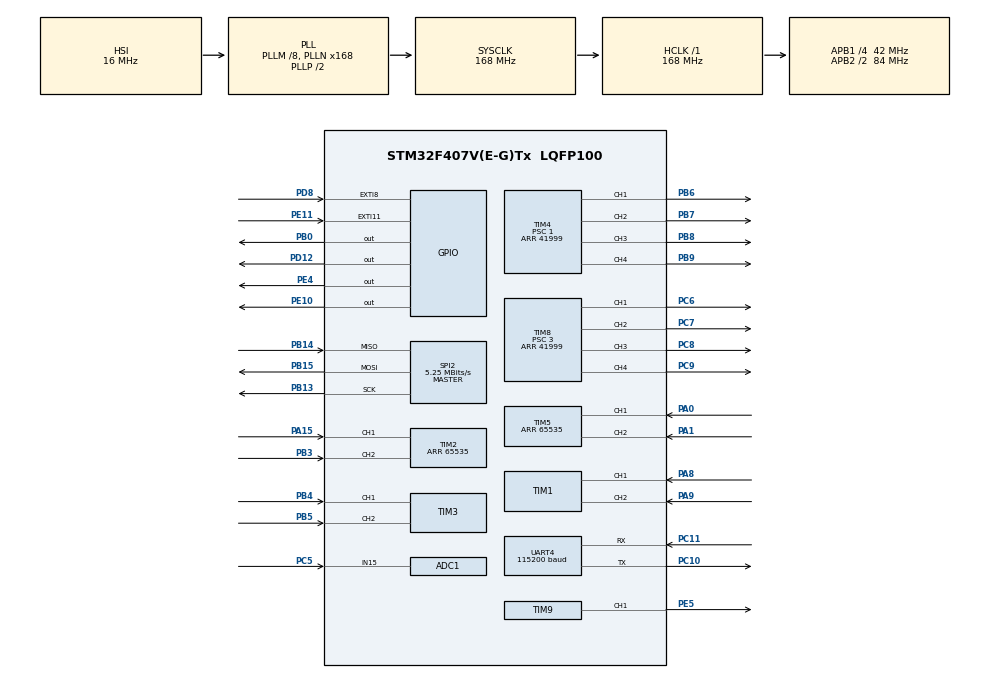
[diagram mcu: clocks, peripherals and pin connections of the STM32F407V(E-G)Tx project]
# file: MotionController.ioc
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ADC1.Channel-1\#ChannelRegularConversion=ADC_CHANNEL_15
ADC1.NbrOfConversionFlag=1
ADC1.Rank-1\#ChannelRegularConversion=1
ADC1.SamplingTime-1\#ChannelRegularConversion=ADC_SAMPLETIME_3CYCLES
ADC1.master=1
Dma.Request0=SPI2_TX
Dma.Request1=SPI2_RX
Dma.Request2=UART4_RX
Dma.SPI2_RX.1.Direction=DMA_PERIPH_TO_MEMORY
Dma.SPI2_RX.1.FIFOMode=DMA_FIFOMODE_DISABLE
Dma.SPI2_RX.1.Instance=DMA1_Stream3
Dma.SPI2_RX.1.MemDataAlignment=DMA_MDATAALIGN_BYTE
Dma.SPI2_RX.1.MemInc=DMA_MINC_ENABLE
Dma.SPI2_RX.1.Mode=DMA_NORMAL
Dma.SPI2_RX.1.PeriphDataAlignment=DMA_PDATAALIGN_BYTE
Dma.SPI2_RX.1.PeriphInc=DMA_PINC_DISABLE
Dma.SPI2_RX.1.Priority=DMA_PRIORITY_VERY_HIGH
Dma.SPI2_TX.0.Direction=DMA_MEMORY_TO_PERIPH
Dma.SPI2_TX.0.FIFOMode=DMA_FIFOMODE_DISABLE
Dma.SPI2_TX.0.Instance=DMA1_Stream4
Dma.SPI2_TX.0.MemDataAlignment=DMA_MDATAALIGN_BYTE
Dma.SPI2_TX.0.MemInc=DMA_MINC_ENABLE
Dma.SPI2_TX.0.Mode=DMA_NORMAL
Dma.SPI2_TX.0.PeriphDataAlignment=DMA_PDATAALIGN_BYTE
Dma.SPI2_TX.0.PeriphInc=DMA_PINC_DISABLE
Dma.SPI2_TX.0.Priority=DMA_PRIORITY_VERY_HIGH
Dma.UART4_RX.2.Direction=DMA_PERIPH_TO_MEMORY
Dma.UART4_RX.2.FIFOMode=DMA_FIFOMODE_DISABLE
Dma.UART4_RX.2.Instance=DMA1_Stream2
Dma.UART4_RX.2.MemDataAlignment=DMA_MDATAALIGN_BYTE
Dma.UART4_RX.2.MemInc=DMA_MINC_ENABLE
Dma.UART4_RX.2.Mode=DMA_NORMAL
Dma.UART4_RX.2.PeriphDataAlignment=DMA_PDATAALIGN_BYTE
Dma.UART4_RX.2.PeriphInc=DMA_PINC_DISABLE
Dma.UART4_RX.2.Priority=DMA_PRIORITY_HIGH
Mcu.Family=STM32F4
Mcu.Name=STM32F407V(E-G)Tx
Mcu.Package=LQFP100
NVIC.DMA1_Stream2_IRQn=true\:4\:0\:true\:false\:true\:false\:true\:true
NVIC.DMA1_Stream3_IRQn=true\:2\:0\:true\:false\:true\:false\:true\:true
NVIC.DMA1_Stream4_IRQn=true\:2\:0\:true\:false\:true\:false\:true\:true
NVIC.EXTI15_10_IRQn=true\:6\:0\:true\:false\:true\:true\:true\:true
NVIC.EXTI9_5_IRQn=true\:0\:0\:false\:false\:true\:true\:true\:true
NVIC.PriorityGroup=NVIC_PRIORITYGROUP_4
NVIC.SPI2_IRQn=true\:1\:0\:true\:false\:true\:true\:true\:true
NVIC.UART4_IRQn=true\:3\:0\:true\:false\:true\:true\:true\:true
PA0-WKUP.GPIO_PuPd=GPIO_PULLUP
PA0-WKUP.GPIO_Speed=GPIO_SPEED_FREQ_VERY_HIGH
PA0-WKUP.Signal=S_TIM5_CH1
PA1.GPIO_PuPd=GPIO_PULLUP
PA1.GPIO_Speed=GPIO_SPEED_FREQ_VERY_HIGH
PA1.Signal=S_TIM5_CH2
PA15.GPIO_PuPd=GPIO_PULLUP
PA15.GPIO_Speed=GPIO_SPEED_FREQ_VERY_HIGH
PA15.Signal=S_TIM2_CH1_ETR
PA8.GPIO_PuPd=GPIO_PULLUP
PA8.GPIO_Speed=GPIO_SPEED_FREQ_VERY_HIGH
PA8.Signal=S_TIM1_CH1
PA9.GPIO_PuPd=GPIO_PULLUP
PA9.GPIO_Speed=GPIO_SPEED_FREQ_VERY_HIGH
PA9.Signal=S_TIM1_CH2
PB0.GPIO_Speed=GPIO_SPEED_FREQ_LOW
PB0.PinState=GPIO_PIN_SET
PB0.Signal=GPIO_Output
PB13.Mode=Full_Duplex_Master
PB13.Signal=SPI2_SCK
PB14.Mode=Full_Duplex_Master
PB14.Signal=SPI2_MISO
PB15.Mode=Full_Duplex_Master
PB15.Signal=SPI2_MOSI
PB3.GPIO_PuPd=GPIO_PULLUP
PB3.GPIO_Speed=GPIO_SPEED_FREQ_VERY_HIGH
PB3.Signal=S_TIM2_CH2
PB4.GPIO_PuPd=GPIO_PULLUP
PB4.GPIO_Speed=GPIO_SPEED_FREQ_VERY_HIGH
PB4.Signal=S_TIM3_CH1
PB5.GPIO_PuPd=GPIO_PULLUP
PB5.GPIO_Speed=GPIO_SPEED_FREQ_VERY_HIGH
PB5.Signal=S_TIM3_CH2
PB6.GPIO_Speed=GPIO_SPEED_FREQ_VERY_HIGH
PB6.Signal=S_TIM4_CH1
PB7.GPIO_Speed=GPIO_SPEED_FREQ_VERY_HIGH
PB7.Signal=S_TIM4_CH2
PB8.GPIO_Speed=GPIO_SPEED_FREQ_VERY_HIGH
PB8.Signal=S_TIM4_CH3
PB9.GPIO_Speed=GPIO_SPEED_FREQ_VERY_HIGH
PB9.Signal=S_TIM4_CH4
PC10.Mode=Asynchronous
PC10.Signal=UART4_TX
PC11.Mode=Asynchronous
PC11.Signal=UART4_RX
PC5.Signal=ADCx_IN15
PC6.GPIO_Speed=GPIO_SPEED_FREQ_VERY_HIGH
PC6.Signal=S_TIM8_CH1
PC7.GPIO_Speed=GPIO_SPEED_FREQ_VERY_HIGH
PC7.Signal=S_TIM8_CH2
PC8.GPIO_Speed=GPIO_SPEED_FREQ_VERY_HIGH
PC8.Signal=S_TIM8_CH3
PC9.GPIO_Speed=GPIO_SPEED_FREQ_VERY_HIGH
PC9.Signal=S_TIM8_CH4
PD12.GPIO_Speed=GPIO_SPEED_FREQ_VERY_HIGH
PD12.PinState=GPIO_PIN_SET
PD12.Signal=GPIO_Output
PD8.GPIO_PuPd=GPIO_PULLUP
PD8.Signal=GPXTI8
PE10.Signal=GPIO_Output
PE11.GPIO_ModeDefaultEXTI=GPIO_MODE_IT_RISING_FALLING
PE11.GPIO_PuPd=GPIO_PULLUP
PE11.Signal=GPXTI11
PE4.Signal=GPIO_Output
PE5.GPIO_Speed=GPIO_SPEED_FREQ_VERY_HIGH
PE5.Signal=S_TIM9_CH1
PH0-OSC_IN.Mode=HSE-External-Oscillator
PH0-OSC_IN.Signal=RCC_OSC_IN
PH1-OSC_OUT.Mode=HSE-External-Oscillator
PH1-OSC_OUT.Signal=RCC_OSC_OUT
ProjectManager.HeapSize=0x200
ProjectManager.StackSize=0x400
ProjectManager.TargetToolchain=STM32CubeIDE
RCC.48MHZClocksFreq_Value=84000000
RCC.AHBFreq_Value=168000000
RCC.APB1CLKDivider=RCC_HCLK_DIV4
RCC.APB1Freq_Value=42000000
RCC.APB1TimFreq_Value=84000000
RCC.APB2CLKDivider=RCC_HCLK_DIV2
RCC.APB2Freq_Value=84000000
RCC.APB2TimFreq_Value=168000000
RCC.CortexFreq_Value=168000000
RCC.HCLKFreq_Value=168000000
RCC.HSE_VALUE=8000000
RCC.HSI_VALUE=16000000
RCC.LSE_VALUE=32768
RCC.PLLM=8
RCC.PLLN=168
RCC.SYSCLKFreq_VALUE=168000000
RCC.SYSCLKSource=RCC_SYSCLKSOURCE_PLLCLK
RCC.VCOOutputFreq_Value=336000000
SH.ADCx_IN15.0=ADC1_IN15,IN15
SH.S_TIM1_CH1.0=TIM1_CH1,Encoder_Interface
SH.S_TIM1_CH2.0=TIM1_CH2,Encoder_Interface
SH.S_TIM2_CH1_ETR.0=TIM2_CH1,Encoder_Interface
SH.S_TIM2_CH2.0=TIM2_CH2,Encoder_Interface
SH.S_TIM3_CH1.0=TIM3_CH1,Encoder_Interface
SH.S_TIM3_CH2.0=TIM3_CH2,Encoder_Interface
SH.S_TIM4_CH1.0=TIM4_CH1,PWM Generation1 CH1
SH.S_TIM4_CH2.0=TIM4_CH2,PWM Generation2 CH2
SH.S_TIM4_CH3.0=TIM4_CH3,PWM Generation3 CH3
SH.S_TIM4_CH4.0=TIM4_CH4,PWM Generation4 CH4
SH.S_TIM5_CH1.0=TIM5_CH1,Encoder_Interface
SH.S_TIM5_CH2.0=TIM5_CH2,Encoder_Interface
SH.S_TIM8_CH1.0=TIM8_CH1,PWM Generation1 CH1
SH.S_TIM8_CH2.0=TIM8_CH2,PWM Generation2 CH2
SH.S_TIM8_CH3.0=TIM8_CH3,PWM Generation3 CH3
SH.S_TIM8_CH4.0=TIM8_CH4,PWM Generation4 CH4
SH.S_TIM9_CH1.0=TIM9_CH1,PWM Generation1 CH1
SPI2.BaudRatePrescaler=SPI_BAUDRATEPRESCALER_8
SPI2.CLKPhase=SPI_PHASE_2EDGE
SPI2.CLKPolarity=SPI_POLARITY_HIGH
SPI2.CalculateBaudRate=5.25 MBits/s
SPI2.Direction=SPI_DIRECTION_2LINES
SPI2.Mode=SPI_MODE_MASTER
SPI2.VirtualType=VM_MASTER
TIM1.AutoReloadPreload=TIM_AUTORELOAD_PRELOAD_ENABLE
TIM1.EncoderMode=TIM_ENCODERMODE_TI12
TIM2.AutoReloadPreload=TIM_AUTORELOAD_PRELOAD_ENABLE
TIM2.EncoderMode=TIM_ENCODERMODE_TI12
TIM2.Period=65535
TIM3.AutoReloadPreload=TIM_AUTORELOAD_PRELOAD_ENABLE
TIM3.EncoderMode=TIM_ENCODERMODE_TI12
TIM4.AutoReloadPreload=TIM_AUTORELOAD_PRELOAD_ENABLE
TIM4.Channel-PWM\ Generation1\ CH1=TIM_CHANNEL_1
TIM4.Channel-PWM\ Generation2\ CH2=TIM_CHANNEL_2
TIM4.Channel-PWM\ Generation3\ CH3=TIM_CHANNEL_3
TIM4.Channel-PWM\ Generation4\ CH4=TIM_CHANNEL_4
TIM4.Period=41999
TIM4.Prescaler=1
TIM5.AutoReloadPreload=TIM_AUTORELOAD_PRELOAD_ENABLE
TIM5.EncoderMode=TIM_ENCODERMODE_TI12
TIM5.Period=65535
TIM8.AutoReloadPreload=TIM_AUTORELOAD_PRELOAD_ENABLE
TIM8.Channel-PWM\ Generation1\ CH1=TIM_CHANNEL_1
TIM8.Channel-PWM\ Generation2\ CH2=TIM_CHANNEL_2
TIM8.Channel-PWM\ Generation3\ CH3=TIM_CHANNEL_3
TIM8.Channel-PWM\ Generation4\ CH4=TIM_CHANNEL_4
TIM8.Period=41999
TIM8.Prescaler=3
TIM9.AutoReloadPreload=TIM_AUTORELOAD_PRELOAD_ENABLE
TIM9.Channel-PWM\ Generation1\ CH1=TIM_CHANNEL_1
TIM9.Period=41999
TIM9.Prescaler=7
UART4.BaudRate=115200
UART4.VirtualMode=Asynchronous
VP_TIM4_VS_ClockSourceINT.Mode=Internal
VP_TIM8_VS_ClockSourceINT.Mode=Internal
VP_TIM9_VS_ClockSourceINT.Mode=Internal
board=custom

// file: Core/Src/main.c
/* USER CODE BEGIN Header */
/**
  ******************************************************************************
  * @file           : main.c
  * @brief          : Main program body
  ******************************************************************************
  * @attention
  *
  * Copyright (c) 2025 STMicroelectronics.
  * All rights reserved.
  *
  * This software is licensed under terms that can be found in the LICENSE file
  * in the root directory of this software component.
  * If no LICENSE file comes with this software, it is provided AS-IS.
  *
  ******************************************************************************
  */
/* USER CODE END Header */
#include "main.h"
#include "adc.h"
#include "dma.h"
#include "spi.h"
#include "tim.h"
#include "usart.h"
#include "gpio.h"

/* USER CODE BEGIN Includes */
#include <stddef.h>
#include "task.h"
#include "task_code.h"
#include "delay.h"
#include "delay_task_code.h"
#include "bmi088.h"
#include "wheel.h"
#include "dribble.h"
#include "protocol.h"
#include "kick.h"
#include "beep.h"
#include "battery.h"
#include "button.h"
/* USER CODE END Includes */

void SystemClock_Config(void);

int main(void)
{

  /* MCU Configuration--------------------------------------------------------*/

  /* Reset of all peripherals, Initializes the Flash interface and the Systick. */
  HAL_Init();

  /* Configure the system clock */
  SystemClock_Config();

  /* Initialize all configured peripherals */
  MX_GPIO_Init();
  MX_DMA_Init();
  MX_SPI2_Init();
  MX_TIM1_Init();
  MX_TIM2_Init();
  MX_TIM3_Init();
  MX_TIM4_Init();
  MX_TIM5_Init();
  MX_TIM8_Init();
  MX_TIM9_Init();
  MX_UART4_Init();
  MX_ADC1_Init();
  /* USER CODE BEGIN 2 */
  delay_init();
  protocol_start_receive_host();
  wheel_init();
  dribble_init();
  kick_reset();
  bmi088_init_gyro();
  beep(100);
  delay_task_enqueue(DELAY_TASK_WHEEL_UPDATE_PWM, 0, NULL);
  delay_task_enqueue(DELAY_TASK_DRIBBLE_UPDATE_PWM, 0, NULL);
  delay_task_enqueue(DELAY_TASK_BATTERY_MONIT_VOLTAGE, 0, NULL);
  delay_task_enqueue(DELAY_TASK_BMI088_CALIBRATE_OFFSET, 500, (void *)(uintptr_t)3000);
  /* USER CODE END 2 */

  /* Infinite loop */
  /* USER CODE BEGIN WHILE */
  while (1) {
	  if (task_available()) {
      void *arg;
		  switch (task_consume(&arg)) {
	  	  case TASK_PROCESS_GYRO_ANGLE:
		  	  bmi088_process_gyro_angle();
		  	  break;
	  	  case TASK_PROCESS_RECEIVED_FRAME:
	  		  protocol_process_received_frame();
		  	  break;
        case TASK_PROCESS_DELAY_TASK:
          while (delay_task_available()) {
            switch(delay_task_consume(&arg)) {
            case DELAY_TASK_BMI088_CALIBRATE_OFFSET:
              bmi088_calibrate_gyro_offset((int)(uintptr_t)arg);
              break;
            case DELAY_TASK_WHEEL_UPDATE_PWM:
              wheel_update_pwm();
              delay_task_enqueue(DELAY_TASK_WHEEL_UPDATE_PWM, 10, NULL);
              break;
            case DELAY_TASK_DRIBBLE_UPDATE_PWM:
              dribble_update_pwm();
              delay_task_enqueue(DELAY_TASK_DRIBBLE_UPDATE_PWM, 50, NULL);
              break;
            case DELAY_TASK_KICK_RESET:
              kick_reset();
              break;
            case DELAY_TASK_BEEP_RESET:
              beep_reset();
              break;
            case DELAY_TASK_BEEP_CONTINUE:
              beep_continue();
              break;
            case DELAY_TASK_BATTERY_MONIT_VOLTAGE:
              battery_monit_voltage();
	          delay_task_enqueue(DELAY_TASK_BATTERY_MONIT_VOLTAGE, 1000, NULL);
              break;
            case DELAY_TASK_BUTTON_DEBOUNCE_END:
              button_debounce_end((uint16_t)(uintptr_t)arg);
              break;
            default:
              break;
            }
          }
          break;
	  	  default:
		  	  break;
	  	  }
	  }
    /* USER CODE END WHILE */

  }
}

void SystemClock_Config(void)
{
  RCC_OscInitTypeDef RCC_OscInitStruct = {0};
  RCC_ClkInitTypeDef RCC_ClkInitStruct = {0};

  /** Configure the main internal regulator output voltage
  */
  __HAL_RCC_PWR_CLK_ENABLE();
  __HAL_PWR_VOLTAGESCALING_CONFIG(PWR_REGULATOR_VOLTAGE_SCALE1);

  /** Initializes the RCC Oscillators according to the specified parameters
  * in the RCC_OscInitTypeDef structure.
  */
  RCC_OscInitStruct.OscillatorType = RCC_OSCILLATORTYPE_HSI;
  RCC_OscInitStruct.HSIState = RCC_HSI_ON;
  RCC_OscInitStruct.HSICalibrationValue = RCC_HSICALIBRATION_DEFAULT;
  RCC_OscInitStruct.PLL.PLLState = RCC_PLL_ON;
  RCC_OscInitStruct.PLL.PLLSource = RCC_PLLSOURCE_HSI;
  RCC_OscInitStruct.PLL.PLLM = 8;
  RCC_OscInitStruct.PLL.PLLN = 168;
  RCC_OscInitStruct.PLL.PLLP = RCC_PLLP_DIV2;
  RCC_OscInitStruct.PLL.PLLQ = 4;
  if (HAL_RCC_OscConfig(&RCC_OscInitStruct) != HAL_OK)
  {
    Error_Handler();
  }

  /** Initializes the CPU, AHB and APB buses clocks
  */
  RCC_ClkInitStruct.ClockType = RCC_CLOCKTYPE_HCLK|RCC_CLOCKTYPE_SYSCLK
                              |RCC_CLOCKTYPE_PCLK1|RCC_CLOCKTYPE_PCLK2;
  RCC_ClkInitStruct.SYSCLKSource = RCC_SYSCLKSOURCE_PLLCLK;
  RCC_ClkInitStruct.AHBCLKDivider = RCC_SYSCLK_DIV1;
  RCC_ClkInitStruct.APB1CLKDivider = RCC_HCLK_DIV4;
  RCC_ClkInitStruct.APB2CLKDivider = RCC_HCLK_DIV2;

  if (HAL_RCC_ClockConfig(&RCC_ClkInitStruct, FLASH_LATENCY_5) != HAL_OK)
  {
    Error_Handler();
  }
}

/* USER CODE BEGIN 4 */
void HAL_GPIO_EXTI_Callback(uint16_t GPIO_Pin)
{
    switch(GPIO_Pin)
    {
    case GPIO_PIN_8:
    	BMI088_CAPTURE_DRDY_TIMESTAMP();
    	bmi088_burst_read_gyro(0x02, 6);
      break;
    case GPIO_PIN_11:
      if (button_get_event(GPIOE, GPIO_PIN_11) == BUTTON_EVENT_RISING_EDGE) {
        HAL_GPIO_WritePin(GPIOE, GPIO_PIN_10, GPIO_PIN_RESET);
        delay_task_enqueue(DELAY_TASK_BMI088_CALIBRATE_OFFSET, 500, (void *)(uintptr_t)3000);
      }
      break;
    default:
        break;
    }
}

void HAL_SPI_TxRxCpltCallback(SPI_HandleTypeDef *hspi)
{
    switch ((uint32_t)hspi->Instance)
    {
    case (uint32_t)SPI2:
    	HAL_GPIO_WritePin(GPIOD, GPIO_PIN_12, GPIO_PIN_SET);
    	task_enqueue(TASK_PROCESS_GYRO_ANGLE, NULL);
      break;
    default:
        break;
    }
}

void HAL_UARTEx_RxEventCallback(UART_HandleTypeDef *huart, uint16_t Size)
{
	switch((uint32_t)huart->Instance) {
	case (uint32_t)UART4:
		if (huart->RxEventType == HAL_UART_RXEVENT_IDLE) {
			task_enqueue(TASK_PROCESS_RECEIVED_FRAME, NULL);
  	  protocol_start_receive_host();
    }
		break;
	default:
		break;
	}
}
/* USER CODE END 4 */

void Error_Handler(void)
{
  __disable_irq();
  while (1)
  {
  }
}
